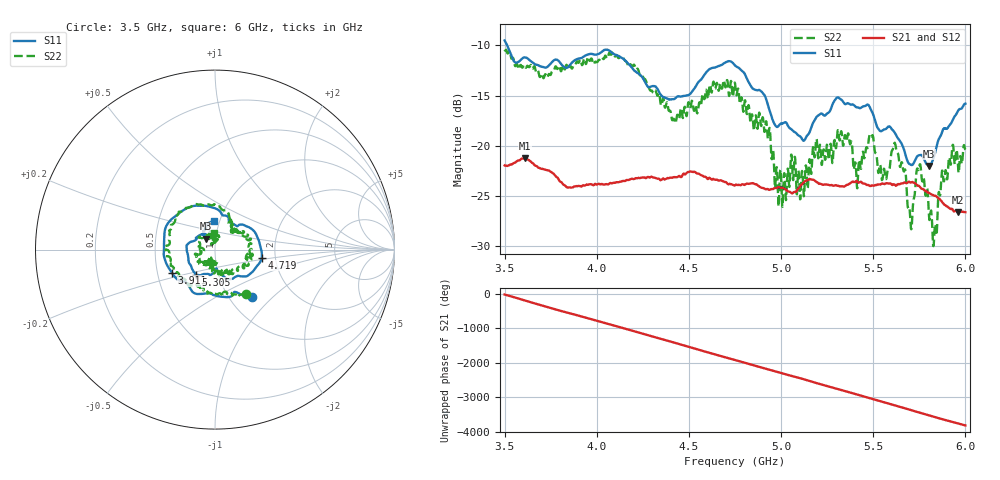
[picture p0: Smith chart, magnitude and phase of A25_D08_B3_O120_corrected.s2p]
! Created with skrf 1.9.0 (http://scikit-rf.org).
# Hz S RI R 50.0
!freq ReS11 ImS11 ReS21 ImS21 ReS12 ImS12 ReS22 ImS22
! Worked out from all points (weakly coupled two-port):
!   1601 points, 3.5 GHz to 6 GHz, reference 50 ohm
!   highest |S21| = -21.25 dB at 3.609 GHz (marker M1); lowest = -26.7 dB at 5.961 GHz (marker M2)
!   lowest |S11| = -22.0 dB at 5.803 GHz (marker M3), VSWR 1.17, Z = 44.9 + j5.55 ohm
!   |S11| at or under -10 dB: 3.514 GHz to end of sweep
!   |S22| runs from -30.0 to -10.4 dB; largest |S21 - S12| = 0.0011
!   S11 on the Smith chart (normalised r, x): 3.5 GHz: 1.26, -0.75; 3.911 GHz: 0.60, -0.17; 4.719 GHz: 1.69, -0.16; 5.305 GHz: 0.78, -0.22; 6 GHz: 0.93, +0.31
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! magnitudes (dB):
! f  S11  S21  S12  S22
! 3.5 GHz  -9.5  -22.0  -22.0  -10.4
! 3.609 GHz  -11.2  -21.3  -21.3  -12.0
! 3.911 GHz  -11.3  -24.1  -24.0  -11.4
! 3.917 GHz  -11.3  -24.1  -24.1  -11.8
! 4.334 GHz  -14.5  -23.3  -23.2  -14.8
! 4.42 GHz  -15.4  -23.2  -23.1  -17.4
! 4.719 GHz  -11.6  -23.8  -23.9  -15.0
! 4.75 GHz  -12.0  -24.0  -23.9  -13.8
! 4.928 GHz  -15.9  -24.3  -24.3  -19.3
! 4.997 GHz  -17.8  -24.2  -24.2  -22.4
! 5.167 GHz  -18.0  -23.4  -23.4  -21.9
! 5.305 GHz  -15.2  -24.0  -24.0  -18.9
! 5.406 GHz  -16.1  -23.6  -23.5  -22.2
! 5.584 GHz  -18.1  -23.8  -23.8  -22.4
! 5.625 GHz  -19.0  -24.0  -24.0  -20.4
! 5.702 GHz  -21.9  -23.7  -23.7  -27.4
! 5.748 GHz  -21.0  -24.0  -24.0  -22.2
! 5.803 GHz  -22.0  -24.7  -24.7  -27.1
! 5.834 GHz  -20.8  -25.0  -25.0  -27.9
! 5.881 GHz  -18.3  -25.8  -25.8  -23.5
! 5.961 GHz  -16.5  -26.7  -26.6  -22.4
! 6 GHz  -15.8  -26.6  -26.6  -20.4
